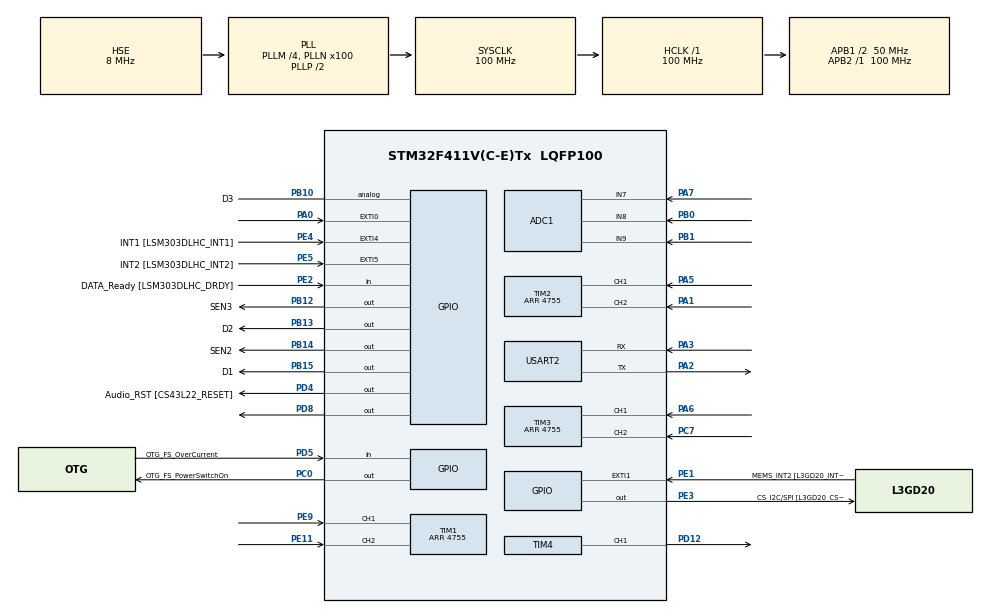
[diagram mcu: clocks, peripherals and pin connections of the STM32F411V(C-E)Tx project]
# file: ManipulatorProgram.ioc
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ADC1.Channel-7\#ChannelRegularConversion=ADC_CHANNEL_8
ADC1.ClockPrescaler=ADC_CLOCK_SYNC_PCLK_DIV4
ADC1.EnableAnalogWatchDog=false
ADC1.NbrOfConversionFlag=1
ADC1.Rank-7\#ChannelRegularConversion=1
ADC1.SamplingTime-7\#ChannelRegularConversion=ADC_SAMPLETIME_3CYCLES
ADC1.master=1
Mcu.Family=STM32F4
Mcu.Name=STM32F411V(C-E)Tx
Mcu.Package=LQFP100
NVIC.PriorityGroup=NVIC_PRIORITYGROUP_0
NVIC.TIM1_UP_TIM10_IRQn=true\:0\:0\:false\:false\:true\:true\:true
NVIC.USART2_IRQn=true\:0\:0\:false\:false\:true\:true\:true
PA0-WKUP.GPIO_ModeDefaultEXTI=GPIO_MODE_EVT_RISING
PA0-WKUP.Signal=GPXTI0
PA1.Signal=S_TIM2_CH2
PA13.GPIO_Label=SWDIO
PA13.Mode=Serial_Wire
PA13.Signal=SYS_JTMS-SWDIO
PA14.GPIO_Label=SWCLK
PA14.Mode=Serial_Wire
PA14.Signal=SYS_JTCK-SWCLK
PA2.Mode=Asynchronous
PA2.Signal=USART2_TX
PA3.Mode=Asynchronous
PA3.Signal=USART2_RX
PA5.Signal=S_TIM2_CH1_ETR
PA6.Signal=S_TIM3_CH1
PA7.Signal=ADCx_IN7
PB0.Signal=ADCx_IN8
PB1.Signal=ADCx_IN9
PB10.GPIO_Label=D3
PB10.Signal=GPIO_Analog
PB12.GPIO_Label=SEN3
PB12.Signal=GPIO_Output
PB13.GPIO_Label=D2
PB13.Signal=GPIO_Output
PB14.GPIO_Label=SEN2
PB14.Signal=GPIO_Output
PB15.GPIO_Label=D1
PB15.Signal=GPIO_Output
PC0.GPIO_Label=OTG_FS_PowerSwitchOn
PC0.PinState=GPIO_PIN_SET
PC0.Signal=GPIO_Output
PC14-OSC32_IN.GPIO_Label=PC14-OSC32_IN
PC14-OSC32_IN.Mode=LSE-External-Oscillator
PC14-OSC32_IN.Signal=RCC_OSC32_IN
PC15-OSC32_OUT.GPIO_Label=PC15-OSC32_OUT
PC15-OSC32_OUT.Mode=LSE-External-Oscillator
PC15-OSC32_OUT.Signal=RCC_OSC32_OUT
PC7.Signal=S_TIM3_CH2
PD12.Signal=S_TIM4_CH1
PD4.GPIO_Label=Audio_RST [CS43L22_RESET]
PD4.Signal=GPIO_Output
PD5.GPIO_Label=OTG_FS_OverCurrent
PD5.Signal=GPIO_Input
PD8.Signal=GPIO_Output
PE1.GPIO_Label=MEMS_INT2 [L3GD20_INT2]
PE1.GPIO_ModeDefaultEXTI=GPIO_MODE_EVT_RISING
PE1.Signal=GPXTI1
PE11.Signal=S_TIM1_CH2
PE2.GPIO_Label=DATA_Ready [LSM303DLHC_DRDY]
PE2.Signal=GPIO_Input
PE3.GPIO_Label=CS_I2C/SPI [L3GD20_CS_I2C/SPI]
PE3.Signal=GPIO_Output
PE4.GPIO_Label=INT1 [LSM303DLHC_INT1]
PE4.GPIO_ModeDefaultEXTI=GPIO_MODE_EVT_RISING
PE4.Signal=GPXTI4
PE5.GPIO_Label=INT2 [LSM303DLHC_INT2]
PE5.GPIO_ModeDefaultEXTI=GPIO_MODE_EVT_RISING
PE5.Signal=GPXTI5
PE9.Signal=S_TIM1_CH1
PH0\ -\ OSC_IN.GPIO_Label=PH0-OSC_IN
PH0\ -\ OSC_IN.Mode=HSE-External-Oscillator
PH0\ -\ OSC_IN.Signal=RCC_OSC_IN
PH1\ -\ OSC_OUT.GPIO_Label=PH1-OSC_OUT
PH1\ -\ OSC_OUT.Mode=HSE-External-Oscillator
PH1\ -\ OSC_OUT.Signal=RCC_OSC_OUT
ProjectManager.HeapSize=0x200
ProjectManager.StackSize=0x400
ProjectManager.TargetToolchain=STM32CubeIDE
RCC.48MHZClocksFreq_Value=25000000
RCC.AHBFreq_Value=100000000
RCC.APB1CLKDivider=RCC_HCLK_DIV2
RCC.APB1Freq_Value=50000000
RCC.APB1TimFreq_Value=100000000
RCC.APB2Freq_Value=100000000
RCC.APB2TimFreq_Value=100000000
RCC.CortexFreq_Value=100000000
RCC.HCLKFreq_Value=100000000
RCC.HSE_VALUE=8000000
RCC.HSI_VALUE=16000000
RCC.PLLI2SM=5
RCC.PLLI2SN=200
RCC.PLLM=4
RCC.PLLN=100
RCC.PLLQ=8
RCC.PLLSourceVirtual=RCC_PLLSOURCE_HSE
RCC.SYSCLKFreq_VALUE=100000000
RCC.SYSCLKSource=RCC_SYSCLKSOURCE_PLLCLK
RCC.VCOOutputFreq_Value=200000000
SH.ADCx_IN7.0=ADC1_IN7,IN7
SH.ADCx_IN8.0=ADC1_IN8,IN8
SH.ADCx_IN9.0=ADC1_IN9,IN9
SH.S_TIM1_CH1.0=TIM1_CH1,Encoder_Interface
SH.S_TIM1_CH2.0=TIM1_CH2,Encoder_Interface
SH.S_TIM2_CH1_ETR.0=TIM2_CH1,Encoder_Interface
SH.S_TIM2_CH2.0=TIM2_CH2,Encoder_Interface
SH.S_TIM3_CH1.0=TIM3_CH1,Encoder_Interface
SH.S_TIM3_CH2.0=TIM3_CH2,Encoder_Interface
SH.S_TIM4_CH1.0=TIM4_CH1,PWM Generation1 CH1
TIM1.EncoderMode=TIM_ENCODERMODE_TI12
TIM1.IC1Filter=15
TIM1.Period=4755
TIM10.Period=9999
TIM10.Prescaler=999
TIM2.EncoderMode=TIM_ENCODERMODE_TI12
TIM2.IC1Filter=15
TIM2.IC2Filter=15
TIM2.Period=4755
TIM3.EncoderMode=TIM_ENCODERMODE_TI12
TIM3.IC1Filter=15
TIM3.IC2Filter=15
TIM3.Period=4755
TIM4.Channel-PWM\ Generation1\ CH1=TIM_CHANNEL_1
TIM4.Period=999
USART2.VirtualMode=VM_ASYNC
VP_TIM10_VS_ClockSourceINT.Mode=Enable_Timer
board=STM32F411E-DISCO

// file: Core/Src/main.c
/* USER CODE BEGIN Header */
/**
  ******************************************************************************
  * @file           : main.c
  * @brief          : Main program body
  ******************************************************************************
  * @attention
  *
  * <h2><center>&copy; Copyright (c) 2021 STMicroelectronics.
  * All rights reserved.</center></h2>
  *
  * This software component is licensed by ST under Ultimate Liberty license
  * SLA0044, the "License"; You may not use this file except in compliance with
  * the License. You may obtain a copy of the License at:
  *                             www.st.com/SLA0044
  *
  ******************************************************************************
  */
/* USER CODE END Header */
#include "main.h"
#include "adc.h"
#include "tim.h"
#include "usart.h"
#include "gpio.h"

/* USER CODE BEGIN Includes */
#include "stdio.h"
#include "checksum.h"
#include "pid.h"
#include "AOM.h"
/* USER CODE END Includes */

/* USER CODE BEGIN PV */
volatile int pulse;
volatile int pulse_count;
volatile uint8_t flag;
volatile uint8_t inc;
char Message[17];
uint8_t sign;
volatile int adc_flag;
volatile int adc_value;
volatile int dac_value;
volatile int dac_control;
volatile uint16_t dac_index;
volatile uint8_t dac_nperiod;
int step_desired;
cpid_t pid;
/* USER CODE END PV */

void SystemClock_Config(void);
/* USER CODE BEGIN PFP */

int _write(int file, char *ptr, int len){
	HAL_UART_Transmit(&huart2, (uint8_t*)ptr, len, 50);
	return len;
}
void HAL_TIM_PeriodElapsedCallback(TIM_HandleTypeDef *htim) {
	if (htim == &htim10) {
		flag=1;
	}
}
void createMessage(uint16_t joint1, uint16_t joint2, uint16_t joint3){
	uint16_t values[9], len ,crc, help1, help2;

	values[0]=joint1/100;
	values[3]=joint2/100;
	values[6]=joint3/100;

	values[1]=(joint1-values[0]*100)/10;
	values[4]=(joint2-values[3]*100)/10;
	values[7]=(joint3-values[6]*100)/10;

	values[2]=(joint1-values[0]*100-values[1]*10);
	values[5]=(joint2-values[3]*100-values[4]*10);
	values[8]=(joint3-values[6]*100-values[7]*10);
	len=sprintf(Message, "A%d%d%dB%d%d%dC%d%d%d",values[0],values[1],values[2], values[3],values[4],values[5],values[6],values[7],values[8]);
	crc=crc_8(Message, len);
	help1=crc/100;
	help2=(crc-help1*100)/10 ;

	printf("A%d%d%dB%d%d%dC%d%d%d%d%d%d\r\n",values[0],values[1],values[2], values[3],values[4],values[5],values[6],values[7],values[8],
			    help1,help2, crc%10);

}
void setup_uart(){
	HAL_Delay(1000);
	printf("AT+BAUD4");
	HAL_Delay(100);
	printf("AT+NAMEep_bt");
	HAL_Delay(100);
	printf("AT+PIN3498");
	HAL_Delay(100);
}
/* USER CODE END PFP */

int main(void)
{
  /* USER CODE BEGIN 1 */
	uint16_t joint1=0, joint2=0, joint3=0;
  /* USER CODE END 1 */

  /* MCU Configuration--------------------------------------------------------*/

  /* Reset of all peripherals, Initializes the Flash interface and the Systick. */
  HAL_Init();

  /* Configure the system clock */
  SystemClock_Config();

  /* Initialize all configured peripherals */
  MX_GPIO_Init();
  MX_TIM1_Init();
  MX_TIM2_Init();
  MX_TIM3_Init();
  MX_TIM10_Init();
  MX_TIM4_Init();
  MX_USART2_UART_Init();
  MX_ADC1_Init();
  /* USER CODE BEGIN 2 */
  pid_init(&pid, 7.0f, 0.1f, 0.03f, 10, 1);
  pid.p_max = pid_scale(&pid, 4095);
  pid.p_min = pid_scale(&pid, -4095);
  pid.i_max = pid_scale(&pid, 4095);
  pid.i_min = pid_scale(&pid, -4095);
  pid.d_max = pid_scale(&pid, 4095);
  pid.d_min = pid_scale(&pid, -4095);
  pid.total_max = pid_scale(&pid, 4095);
  pid.total_min = pid_scale(&pid, 0);
  HAL_TIM_Encoder_Start(&htim1, TIM_CHANNEL_ALL);
  HAL_TIM_Encoder_Start(&htim2, TIM_CHANNEL_ALL);
  HAL_TIM_Encoder_Start(&htim3, TIM_CHANNEL_ALL);
  HAL_TIM_Base_Start_IT(&htim10);

  __HAL_TIM_SET_COMPARE(&htim3, TIM_CHANNEL_1, 0);
  HAL_TIM_PWM_Start(&htim4, TIM_CHANNEL_1);

  HAL_GPIO_WritePin(SEN1_GPIO_Port, SEN1_Pin, GPIO_PIN_SET);
  HAL_GPIO_WritePin(D1_GPIO_Port, D1_Pin, GPIO_PIN_SET);
  HAL_GPIO_WritePin(SEN2_GPIO_Port, SEN2_Pin, GPIO_PIN_SET);
  HAL_GPIO_WritePin(D2_GPIO_Port, D2_Pin, GPIO_PIN_SET);
  HAL_GPIO_WritePin(SEN3_GPIO_Port, SEN3_Pin, GPIO_PIN_SET);
  HAL_GPIO_WritePin(D3_GPIO_Port, D3_Pin, GPIO_PIN_SET);
  //setup_uart();
  /* USER CODE END 2 */

  /* Infinite loop */
  /* USER CODE BEGIN WHILE */
  HAL_Delay(1000);
  __HAL_TIM_SET_COMPARE(&htim4, TIM_CHANNEL_1,999);
  HAL_Delay(1000);
  __HAL_TIM_SET_COMPARE(&htim4, TIM_CHANNEL_1, 0);
  while (1)
  {
	  if(flag == 1){
		  pulse_count=TIM1->CNT;
		  joint1=pulse_count*3/40;
		  pulse_count=TIM2->CNT;
		  joint2=pulse_count*3/40;
		  pulse_count=TIM3->CNT;
		  joint3=pulse_count*3/40;

		  createMessage(joint1,  joint2,  joint3);
		  flag=0;
	  }
    /* USER CODE END WHILE */

  }
}

void SystemClock_Config(void)
{
  RCC_OscInitTypeDef RCC_OscInitStruct = {0};
  RCC_ClkInitTypeDef RCC_ClkInitStruct = {0};

  /** Configure the main internal regulator output voltage
  */
  __HAL_RCC_PWR_CLK_ENABLE();
  __HAL_PWR_VOLTAGESCALING_CONFIG(PWR_REGULATOR_VOLTAGE_SCALE1);
  /** Initializes the RCC Oscillators according to the specified parameters
  * in the RCC_OscInitTypeDef structure.
  */
  RCC_OscInitStruct.OscillatorType = RCC_OSCILLATORTYPE_HSE;
  RCC_OscInitStruct.HSEState = RCC_HSE_ON;
  RCC_OscInitStruct.PLL.PLLState = RCC_PLL_ON;
  RCC_OscInitStruct.PLL.PLLSource = RCC_PLLSOURCE_HSE;
  RCC_OscInitStruct.PLL.PLLM = 4;
  RCC_OscInitStruct.PLL.PLLN = 100;
  RCC_OscInitStruct.PLL.PLLP = RCC_PLLP_DIV2;
  RCC_OscInitStruct.PLL.PLLQ = 8;
  if (HAL_RCC_OscConfig(&RCC_OscInitStruct) != HAL_OK)
  {
    Error_Handler();
  }
  /** Initializes the CPU, AHB and APB buses clocks
  */
  RCC_ClkInitStruct.ClockType = RCC_CLOCKTYPE_HCLK|RCC_CLOCKTYPE_SYSCLK
                              |RCC_CLOCKTYPE_PCLK1|RCC_CLOCKTYPE_PCLK2;
  RCC_ClkInitStruct.SYSCLKSource = RCC_SYSCLKSOURCE_PLLCLK;
  RCC_ClkInitStruct.AHBCLKDivider = RCC_SYSCLK_DIV1;
  RCC_ClkInitStruct.APB1CLKDivider = RCC_HCLK_DIV2;
  RCC_ClkInitStruct.APB2CLKDivider = RCC_HCLK_DIV1;

  if (HAL_RCC_ClockConfig(&RCC_ClkInitStruct, FLASH_LATENCY_3) != HAL_OK)
  {
    Error_Handler();
  }
}

void Error_Handler(void)
{
}

/************************ (C) COPYRIGHT STMicroelectronics *****END OF FILE****/
